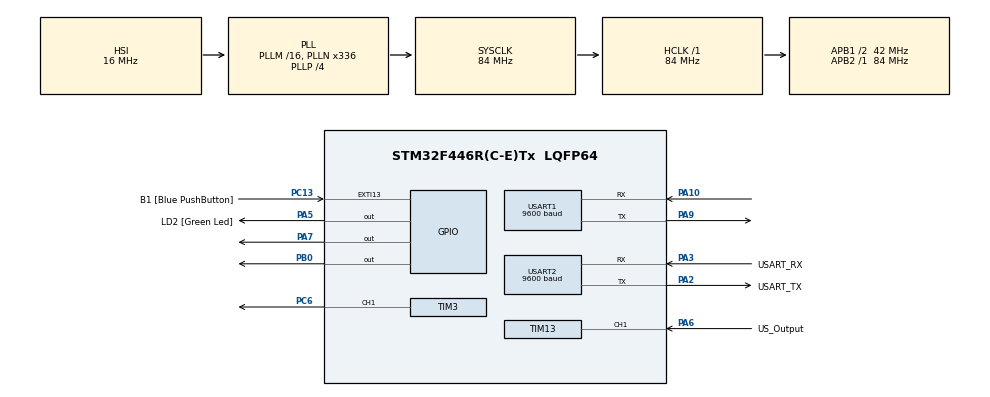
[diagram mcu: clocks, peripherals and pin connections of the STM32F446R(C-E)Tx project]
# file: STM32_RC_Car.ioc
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Mcu.Family=STM32F4
Mcu.Name=STM32F446R(C-E)Tx
Mcu.Package=LQFP64
NVIC.PriorityGroup=NVIC_PRIORITYGROUP_0
NVIC.TIM8_UP_TIM13_IRQn=true\:0\:0\:false\:false\:true\:true\:true\:true
NVIC.USART1_IRQn=true\:0\:0\:false\:false\:true\:true\:true\:true
NVIC.USART2_IRQn=true\:0\:0\:false\:false\:true\:true\:true\:true
PA10.Mode=Asynchronous
PA10.Signal=USART1_RX
PA13.GPIO_Label=TMS
PA13.Mode=Serial_Wire
PA13.Signal=SYS_JTMS-SWDIO
PA14.GPIO_Label=TCK
PA14.Mode=Serial_Wire
PA14.Signal=SYS_JTCK-SWCLK
PA2.GPIO_Label=USART_TX
PA2.Mode=Asynchronous
PA2.Signal=USART2_TX
PA3.GPIO_Label=USART_RX
PA3.Mode=Asynchronous
PA3.Signal=USART2_RX
PA5.GPIO_Label=LD2 [Green Led]
PA5.Signal=GPIO_Output
PA6.GPIO_Label=US_Output
PA6.Signal=S_TIM13_CH1
PA7.Signal=GPIO_Output
PA9.Mode=Asynchronous
PA9.Signal=USART1_TX
PB0.Signal=GPIO_Output
PB3.GPIO_Label=SWO
PB3.Signal=SYS_JTDO-SWO
PC13.GPIO_Label=B1 [Blue PushButton]
PC13.GPIO_ModeDefaultEXTI=GPIO_MODE_IT_FALLING
PC13.Signal=GPXTI13
PC14-OSC32_IN.Mode=LSE-External-Oscillator
PC14-OSC32_IN.Signal=RCC_OSC32_IN
PC15-OSC32_OUT.Mode=LSE-External-Oscillator
PC15-OSC32_OUT.Signal=RCC_OSC32_OUT
PC6.Signal=S_TIM3_CH1
PH0-OSC_IN.Mode=HSE-External-Oscillator
PH0-OSC_IN.Signal=RCC_OSC_IN
PH1-OSC_OUT.Mode=HSE-External-Oscillator
PH1-OSC_OUT.Signal=RCC_OSC_OUT
ProjectManager.HeapSize=0x200
ProjectManager.StackSize=0x400
ProjectManager.TargetToolchain=STM32CubeIDE
RCC.48MHZClocksFreq_Value=84000000
RCC.AHBFreq_Value=84000000
RCC.APB1CLKDivider=RCC_HCLK_DIV2
RCC.APB1Freq_Value=42000000
RCC.APB1TimFreq_Value=84000000
RCC.APB2Freq_Value=84000000
RCC.APB2TimFreq_Value=84000000
RCC.CortexFreq_Value=84000000
RCC.FLatency-AdvancedSettings=FLASH_LATENCY_2
RCC.HCLKFreq_Value=84000000
RCC.HSE_VALUE=8000000
RCC.HSI_VALUE=16000000
RCC.PLLN=336
RCC.PLLP=RCC_PLLP_DIV4
RCC.SYSCLKFreq_VALUE=84000000
RCC.SYSCLKSource=RCC_SYSCLKSOURCE_PLLCLK
RCC.USBFreq_Value=168000000
RCC.VCOOutputFreq_Value=336000000
SH.S_TIM13_CH1.0=TIM13_CH1,Input_Capture1_from_TI1
SH.S_TIM3_CH1.0=TIM3_CH1,PWM Generation1 CH1
TIM1.Period=0xffff-1
TIM1.Prescaler=83
TIM13.Channel=TIM_CHANNEL_1
TIM13.Period=0xffff-1 
TIM13.Prescaler=83
TIM3.Channel-PWM\ Generation1\ CH1=TIM_CHANNEL_1
TIM3.Period=1000
TIM3.Prescaler=83
TIM3.Pulse-PWM\ Generation1\ CH1=500
USART1.BaudRate=9600
USART1.VirtualMode=VM_ASYNC
USART2.BaudRate=9600
USART2.VirtualMode=VM_ASYNC
VP_TIM13_VS_ClockSourceINT.Mode=Enable_Timer
VP_TIM1_VS_ClockSourceINT.Mode=Internal
board=NUCLEO-F446RE

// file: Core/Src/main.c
/* USER CODE BEGIN Header */
/**
  ******************************************************************************
  * @file           : main.c
  * @brief          : Main program body
  ******************************************************************************
  * @attention
  *
  * Copyright (c) 2023 STMicroelectronics.
  * All rights reserved.
  *
  * This software is licensed under terms that can be found in the LICENSE file
  * in the root directory of this software component.
  * If no LICENSE file comes with this software, it is provided AS-IS.
  *
  ******************************************************************************
  */
/* USER CODE END Header */
#include "main.h"

TIM_HandleTypeDef htim1;
TIM_HandleTypeDef htim3;
TIM_HandleTypeDef htim13;

UART_HandleTypeDef huart1;
UART_HandleTypeDef huart2;

/* USER CODE BEGIN PV */

uint32_t IC_Val1 = 0;
uint32_t IC_Val2 = 0;
uint32_t difference = 0;
int Is_First_Captured = 0;

uint8_t input_buffer[8];
uint8_t output_buffer[16];
uint8_t distance;

#define TIMCLOCK   90000000
#define PRESCALAR  90
/* USER CODE END PV */

void SystemClock_Config(void);
static void MX_GPIO_Init(void);
static void MX_USART2_UART_Init(void);
static void MX_TIM13_Init(void);
static void MX_TIM1_Init(void);
static void MX_TIM3_Init(void);
static void MX_USART1_UART_Init(void);

/* USER CODE BEGIN 0 */
void HAL_TIM_IC_CaptureCallback(TIM_HandleTypeDef *htim)
{
	if (htim->Channel == HAL_TIM_ACTIVE_CHANNEL_1)  // if the interrupt source is channel1
	{
		if (Is_First_Captured==0) // if the first value is not captured
		{
			//HAL_UART_Transmit(&huart2, "Captured 0\n", sizeof("Captured 0\n"), HAL_MAX_DELAY);
			IC_Val1 = HAL_TIM_ReadCapturedValue(htim, TIM_CHANNEL_1); // read the first value
			Is_First_Captured = 1;  // set the first captured as true
			// Now change the polarity to falling edge
			__HAL_TIM_SET_CAPTUREPOLARITY(htim, TIM_CHANNEL_1, TIM_INPUTCHANNELPOLARITY_FALLING);
		}

		else if (Is_First_Captured==1)   // if the first is already captured
		{
			//HAL_UART_Transmit(&huart2, "Captured 1\n", sizeof("Captured 1\n"), HAL_MAX_DELAY);
			IC_Val2 = HAL_TIM_ReadCapturedValue(htim, TIM_CHANNEL_1);  // read second value
			__HAL_TIM_SET_COUNTER(htim, 0);  // reset the counter

			if (IC_Val2 > IC_Val1)
			{
				difference = IC_Val2-IC_Val1;
			}

			else if (IC_Val1 > IC_Val2)
			{
				difference = (0xffff - IC_Val1) + IC_Val2;
			}

			distance = (difference * 0.034) / 2;
			if (distance <= 2)
			{
				//sprintf(output_buffer, "%i ", distance);
				HAL_GPIO_WritePin(GPIOA, GPIO_PIN_5, 1);

				//HAL_UART_Transmit(&huart2, output_buffer, sizeof(output_buffer), HAL_MAX_DELAY);
			}

			Is_First_Captured = 0; // set it back to false

			// set polarity to rising edge
			__HAL_TIM_SET_CAPTUREPOLARITY(htim, TIM_CHANNEL_1, TIM_INPUTCHANNELPOLARITY_RISING);
			__HAL_TIM_DISABLE_IT(htim, TIM_IT_CC1);
		}
	}
}

// Timer 1 (&htim1) is the timer used for the delay_ms() function
void delay_us (uint16_t us)
{
	__HAL_TIM_SET_COUNTER(&htim1,0);  // set the counter value a 0
	while (__HAL_TIM_GET_COUNTER(&htim1) < us);  // wait for the counter to reach the us input in the parameter
}

void HAL_UART_RxCpltCallback(UART_HandleTypeDef *huart)
{

  //HAL_UART_Transmit(&huart1, "Received", sizeof("Received"), HAL_MAX_DELAY);
  //HAL_GPIO_WritePin(GPIOA, GPIO_PIN_5, 1);
  //HAL_GPIO_TogglePin(GPIOB, GPIO_PIN_5);

  if (input_buffer == "0")
  {
	  // Stop Motors
	  HAL_GPIO_WritePin(GPIOB, GPIO_PIN_5, 0);
	  HAL_GPIO_WritePin(GPIOB, GPIO_PIN_4, 0);
	  HAL_GPIO_WritePin(GPIOA, GPIO_PIN_4, 0);
	  HAL_GPIO_WritePin(GPIOA, GPIO_PIN_5, 0);
  }
  else if (input_buffer == "1")
  {
	  HAL_GPIO_WritePin(GPIOB, GPIO_PIN_4, 0);
	  HAL_GPIO_WritePin(GPIOA, GPIO_PIN_5, 0);

	  // Drive Both Motors Forward
	  HAL_GPIO_WritePin(GPIOA, GPIO_PIN_4, 1);
	  HAL_GPIO_WritePin(GPIOB, GPIO_PIN_5, 1);

  }
  else if (input_buffer == "2")
  {
	  HAL_GPIO_WritePin(GPIOA, GPIO_PIN_4, 0);
	  HAL_GPIO_WritePin(GPIOB, GPIO_PIN_5, 0);

	  // Drive Both Motors Backward
	  HAL_GPIO_WritePin(GPIOB, GPIO_PIN_4, 1);
	  HAL_GPIO_WritePin(GPIOA, GPIO_PIN_5, 1);
	}
  else if (input_buffer == "4")
  {
	  HAL_GPIO_WritePin(GPIOA, GPIO_PIN_5, 0);
	  HAL_GPIO_WritePin(GPIOB, GPIO_PIN_4, 0);
	  HAL_GPIO_WritePin(GPIOB, GPIO_PIN_5, 0);

	  // Drive Left Motor Forward
	  HAL_GPIO_WritePin(GPIOA, GPIO_PIN_4, 1);

  }
  else if (input_buffer == "5")
  {
	  HAL_GPIO_WritePin(GPIOB, GPIO_PIN_4, 0);
	  HAL_GPIO_WritePin(GPIOA, GPIO_PIN_5, 0);
	  HAL_GPIO_WritePin(GPIOA, GPIO_PIN_4, 0);

	  // Drive Right Motor Forward
	  HAL_GPIO_WritePin(GPIOB, GPIO_PIN_5, 1);
  }

  HAL_UART_Receive_IT(&huart1, input_buffer, 4);
}

/* USER CODE END 0 */

int main(void)
{

  /* MCU Configuration--------------------------------------------------------*/

  /* Reset of all peripherals, Initializes the Flash interface and the Systick. */
  HAL_Init();

  /* Configure the system clock */
  SystemClock_Config();

  /* Initialize all configured peripherals */
  MX_GPIO_Init();
  MX_USART2_UART_Init();
  MX_TIM13_Init();
  MX_TIM1_Init();
  MX_TIM3_Init();
  MX_USART1_UART_Init();
  /* USER CODE BEGIN 2 */

  // Initialize Timers
  HAL_TIM_Base_Start(&htim1);
  HAL_TIM_Base_Start(&htim13);
  HAL_TIM_Base_Start(&htim3);
  HAL_TIM_PWM_Init(&htim3);

  // Start Input Capture on Timer 13
  HAL_TIM_IC_Start_IT(&htim13, TIM_CHANNEL_1);
  //HAL_TIM_ENABLE_IT(&htim14, TIM_IT_UPDATE);

  HAL_TIM_PWM_Start(&htim3, TIM_CHANNEL_1);

  HAL_UART_Receive_IT(&huart2, input_buffer, 4);

  /* USER CODE END 2 */

  /* Infinite loop */
  /* USER CODE BEGIN WHILE */
  while (1)
  {

	  // STM32 not able to read data from bluetooth
	  // HC-05 Connects to Windows 10 Desktop via Bluetooth and is able to establish a serial connection via TeraTerm
	  // Look at previous code on how to fix the issue (inside the Ubuntu Backup)

	  // Reset Trigger Pin
	  HAL_GPIO_WritePin(GPIOA, GPIO_PIN_7, 0);
	  delay_us(2);

	  // Set Trigger Pin HIGH
	  HAL_GPIO_WritePin(GPIOA, GPIO_PIN_7, 1);
	  delay_us(10);
	  HAL_GPIO_WritePin(GPIOA, GPIO_PIN_7, 0);

	  // Read pulse from Echo
	  __HAL_TIM_ENABLE_IT(&htim13, TIM_IT_CC1);

	  //HAL_UART_Transmit(&huart2, "PWM Signal Finished1\n", sizeof("PWM Signal Finished1\n"), HAL_MAX_DELAY);
	  HAL_GPIO_WritePin(GPIOA, GPIO_PIN_5, 0);

    /* USER CODE END WHILE */

  }
}

void SystemClock_Config(void)
{
  RCC_OscInitTypeDef RCC_OscInitStruct = {0};
  RCC_ClkInitTypeDef RCC_ClkInitStruct = {0};

  /** Configure the main internal regulator output voltage
  */
  __HAL_RCC_PWR_CLK_ENABLE();
  __HAL_PWR_VOLTAGESCALING_CONFIG(PWR_REGULATOR_VOLTAGE_SCALE3);

  /** Initializes the RCC Oscillators according to the specified parameters
  * in the RCC_OscInitTypeDef structure.
  */
  RCC_OscInitStruct.OscillatorType = RCC_OSCILLATORTYPE_HSI;
  RCC_OscInitStruct.HSIState = RCC_HSI_ON;
  RCC_OscInitStruct.HSICalibrationValue = RCC_HSICALIBRATION_DEFAULT;
  RCC_OscInitStruct.PLL.PLLState = RCC_PLL_ON;
  RCC_OscInitStruct.PLL.PLLSource = RCC_PLLSOURCE_HSI;
  RCC_OscInitStruct.PLL.PLLM = 16;
  RCC_OscInitStruct.PLL.PLLN = 336;
  RCC_OscInitStruct.PLL.PLLP = RCC_PLLP_DIV4;
  RCC_OscInitStruct.PLL.PLLQ = 2;
  RCC_OscInitStruct.PLL.PLLR = 2;
  if (HAL_RCC_OscConfig(&RCC_OscInitStruct) != HAL_OK)
  {
    Error_Handler();
  }

  /** Initializes the CPU, AHB and APB buses clocks
  */
  RCC_ClkInitStruct.ClockType = RCC_CLOCKTYPE_HCLK|RCC_CLOCKTYPE_SYSCLK
                              |RCC_CLOCKTYPE_PCLK1|RCC_CLOCKTYPE_PCLK2;
  RCC_ClkInitStruct.SYSCLKSource = RCC_SYSCLKSOURCE_PLLCLK;
  RCC_ClkInitStruct.AHBCLKDivider = RCC_SYSCLK_DIV1;
  RCC_ClkInitStruct.APB1CLKDivider = RCC_HCLK_DIV2;
  RCC_ClkInitStruct.APB2CLKDivider = RCC_HCLK_DIV1;

  if (HAL_RCC_ClockConfig(&RCC_ClkInitStruct, FLASH_LATENCY_2) != HAL_OK)
  {
    Error_Handler();
  }
}

static void MX_TIM1_Init(void)
{

  TIM_ClockConfigTypeDef sClockSourceConfig = {0};
  TIM_MasterConfigTypeDef sMasterConfig = {0};

  htim1.Instance = TIM1;
  htim1.Init.Prescaler = 83;
  htim1.Init.CounterMode = TIM_COUNTERMODE_UP;
  htim1.Init.Period = 0xffff-1;
  htim1.Init.ClockDivision = TIM_CLOCKDIVISION_DIV1;
  htim1.Init.RepetitionCounter = 0;
  htim1.Init.AutoReloadPreload = TIM_AUTORELOAD_PRELOAD_DISABLE;
  if (HAL_TIM_Base_Init(&htim1) != HAL_OK)
  {
    Error_Handler();
  }
  sClockSourceConfig.ClockSource = TIM_CLOCKSOURCE_INTERNAL;
  if (HAL_TIM_ConfigClockSource(&htim1, &sClockSourceConfig) != HAL_OK)
  {
    Error_Handler();
  }
  sMasterConfig.MasterOutputTrigger = TIM_TRGO_RESET;
  sMasterConfig.MasterSlaveMode = TIM_MASTERSLAVEMODE_DISABLE;
  if (HAL_TIMEx_MasterConfigSynchronization(&htim1, &sMasterConfig) != HAL_OK)
  {
    Error_Handler();
  }

}

static void MX_TIM3_Init(void)
{

  TIM_MasterConfigTypeDef sMasterConfig = {0};
  TIM_OC_InitTypeDef sConfigOC = {0};

  htim3.Instance = TIM3;
  htim3.Init.Prescaler = 83;
  htim3.Init.CounterMode = TIM_COUNTERMODE_UP;
  htim3.Init.Period = 1000;
  htim3.Init.ClockDivision = TIM_CLOCKDIVISION_DIV1;
  htim3.Init.AutoReloadPreload = TIM_AUTORELOAD_PRELOAD_DISABLE;
  if (HAL_TIM_PWM_Init(&htim3) != HAL_OK)
  {
    Error_Handler();
  }
  sMasterConfig.MasterOutputTrigger = TIM_TRGO_RESET;
  sMasterConfig.MasterSlaveMode = TIM_MASTERSLAVEMODE_DISABLE;
  if (HAL_TIMEx_MasterConfigSynchronization(&htim3, &sMasterConfig) != HAL_OK)
  {
    Error_Handler();
  }
  sConfigOC.OCMode = TIM_OCMODE_PWM1;
  sConfigOC.Pulse = 500;
  sConfigOC.OCPolarity = TIM_OCPOLARITY_HIGH;
  sConfigOC.OCFastMode = TIM_OCFAST_DISABLE;
  if (HAL_TIM_PWM_ConfigChannel(&htim3, &sConfigOC, TIM_CHANNEL_1) != HAL_OK)
  {
    Error_Handler();
  }
  HAL_TIM_MspPostInit(&htim3);

}

static void MX_TIM13_Init(void)
{

  TIM_IC_InitTypeDef sConfigIC = {0};

  htim13.Instance = TIM13;
  htim13.Init.Prescaler = 83;
  htim13.Init.CounterMode = TIM_COUNTERMODE_UP;
  htim13.Init.Period = 0xffff-1 ;
  htim13.Init.ClockDivision = TIM_CLOCKDIVISION_DIV1;
  htim13.Init.AutoReloadPreload = TIM_AUTORELOAD_PRELOAD_DISABLE;
  if (HAL_TIM_Base_Init(&htim13) != HAL_OK)
  {
    Error_Handler();
  }
  if (HAL_TIM_IC_Init(&htim13) != HAL_OK)
  {
    Error_Handler();
  }
  sConfigIC.ICPolarity = TIM_INPUTCHANNELPOLARITY_RISING;
  sConfigIC.ICSelection = TIM_ICSELECTION_DIRECTTI;
  sConfigIC.ICPrescaler = TIM_ICPSC_DIV1;
  sConfigIC.ICFilter = 0;
  if (HAL_TIM_IC_ConfigChannel(&htim13, &sConfigIC, TIM_CHANNEL_1) != HAL_OK)
  {
    Error_Handler();
  }

}

static void MX_USART1_UART_Init(void)
{

  huart1.Instance = USART1;
  huart1.Init.BaudRate = 9600;
  huart1.Init.WordLength = UART_WORDLENGTH_8B;
  huart1.Init.StopBits = UART_STOPBITS_1;
  huart1.Init.Parity = UART_PARITY_NONE;
  huart1.Init.Mode = UART_MODE_TX_RX;
  huart1.Init.HwFlowCtl = UART_HWCONTROL_NONE;
  huart1.Init.OverSampling = UART_OVERSAMPLING_16;
  if (HAL_UART_Init(&huart1) != HAL_OK)
  {
    Error_Handler();
  }

}

static void MX_USART2_UART_Init(void)
{

  huart2.Instance = USART2;
  huart2.Init.BaudRate = 9600;
  huart2.Init.WordLength = UART_WORDLENGTH_8B;
  huart2.Init.StopBits = UART_STOPBITS_1;
  huart2.Init.Parity = UART_PARITY_NONE;
  huart2.Init.Mode = UART_MODE_TX_RX;
  huart2.Init.HwFlowCtl = UART_HWCONTROL_NONE;
  huart2.Init.OverSampling = UART_OVERSAMPLING_16;
  if (HAL_UART_Init(&huart2) != HAL_OK)
  {
    Error_Handler();
  }

}

static void MX_GPIO_Init(void)
{
  GPIO_InitTypeDef GPIO_InitStruct = {0};

  /* GPIO Ports Clock Enable */
  __HAL_RCC_GPIOC_CLK_ENABLE();
  __HAL_RCC_GPIOH_CLK_ENABLE();
  __HAL_RCC_GPIOA_CLK_ENABLE();
  __HAL_RCC_GPIOB_CLK_ENABLE();

  /*Configure GPIO pin Output Level */
  HAL_GPIO_WritePin(GPIOA, LD2_Pin|GPIO_PIN_7, GPIO_PIN_RESET);

  /*Configure GPIO pin Output Level */
  HAL_GPIO_WritePin(GPIOB, GPIO_PIN_0, GPIO_PIN_RESET);

  /*Configure GPIO pin : B1_Pin */
  GPIO_InitStruct.Pin = B1_Pin;
  GPIO_InitStruct.Mode = GPIO_MODE_IT_FALLING;
  GPIO_InitStruct.Pull = GPIO_NOPULL;
  HAL_GPIO_Init(B1_GPIO_Port, &GPIO_InitStruct);

  /*Configure GPIO pins : LD2_Pin PA7 */
  GPIO_InitStruct.Pin = LD2_Pin|GPIO_PIN_7;
  GPIO_InitStruct.Mode = GPIO_MODE_OUTPUT_PP;
  GPIO_InitStruct.Pull = GPIO_NOPULL;
  GPIO_InitStruct.Speed = GPIO_SPEED_FREQ_LOW;
  HAL_GPIO_Init(GPIOA, &GPIO_InitStruct);

  /*Configure GPIO pin : PB0 */
  GPIO_InitStruct.Pin = GPIO_PIN_0;
  GPIO_InitStruct.Mode = GPIO_MODE_OUTPUT_PP;
  GPIO_InitStruct.Pull = GPIO_NOPULL;
  GPIO_InitStruct.Speed = GPIO_SPEED_FREQ_LOW;
  HAL_GPIO_Init(GPIOB, &GPIO_InitStruct);

}

void Error_Handler(void)
{
  __disable_irq();
  while (1)
  {
  }
}
